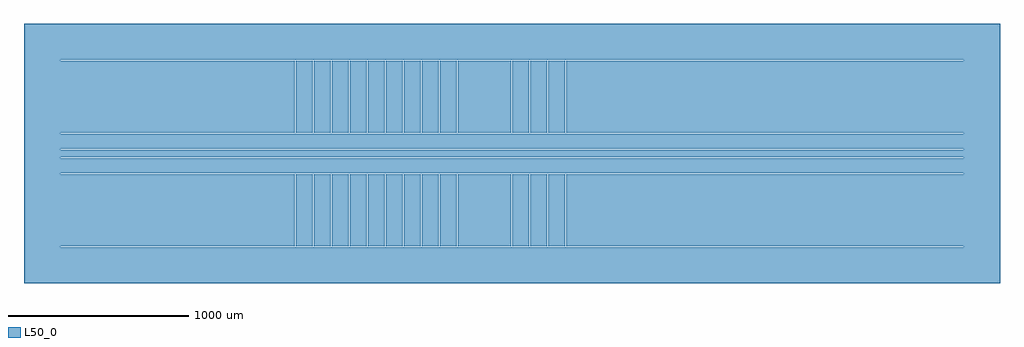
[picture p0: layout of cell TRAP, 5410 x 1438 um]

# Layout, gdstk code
import gdstk
lib = gdstk.Library(unit=1e-6, precision=1e-09)
def R(c, l, rs):  # rectangles x0, y0, x1, y1
    for r in rs: c.add(gdstk.rectangle(r[:2], r[2:], *l))
def A(c, l, x, y, w, h, nx, ny, dx, dy):  # array of equal rectangles
    R(c, l, [(x+i*dx, y+j*dy, x+i*dx+w, y+j*dy+h) for i in range(nx) for j in range(ny)])
def P(c, l, *ps):  # polygons
    for p in ps: c.add(gdstk.Polygon(p, *l))
L50_0 = (50, 0)

trap = lib.new_cell('TRAP')
A(trap, L50_0, -1300, -514, 95, 400, 16, 2, 100, 628)
R(trap, L50_0, [(-2500,-514,-1305,-114), (300,-514,2500,-114), (-2500,-109,2500,-25), (-2500,-20,2500,20), (-2500,25,2500,109), (-2500,114,-1305,514), (300,114,2500,514)])
P(trap, L50_0, [(2705,719),(-2705,719),(-2705,-519),(-2505,-519),(-2505,519),(2505,519),(2505,-519),(-2505,-519),(-2705,-519),(-2705,-719),(2705,-719)])

lib.write_gds('TRAP.gds')
